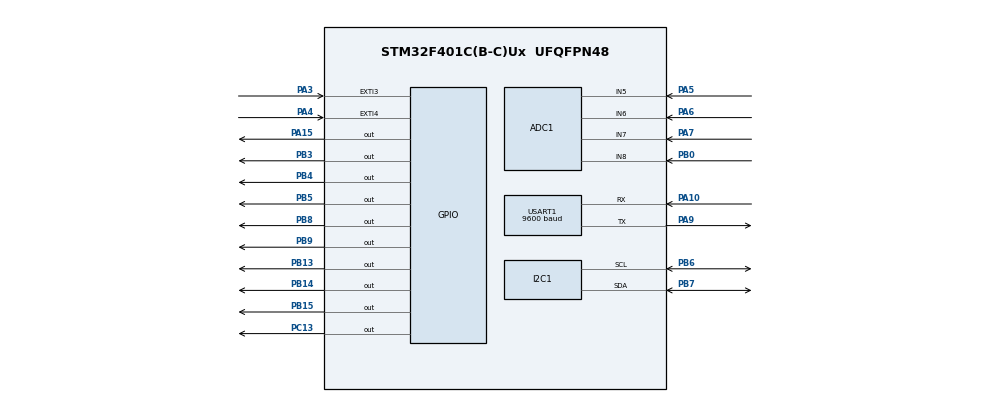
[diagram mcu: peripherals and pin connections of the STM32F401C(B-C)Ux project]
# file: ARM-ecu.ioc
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ADC1.Channel-0\#ChannelRegularConversion=ADC_CHANNEL_5
ADC1.Channel-1\#ChannelRegularConversion=ADC_CHANNEL_6
ADC1.Channel-2\#ChannelRegularConversion=ADC_CHANNEL_7
ADC1.Channel-3\#ChannelRegularConversion=ADC_CHANNEL_8
ADC1.ContinuousConvMode=ENABLE
ADC1.DMAContinuousRequests=ENABLE
ADC1.EOCSelection=ADC_EOC_SINGLE_CONV
ADC1.InjNumberOfConversion=0
ADC1.NbrOfConversion=4
ADC1.NbrOfConversionFlag=1
ADC1.Rank-0\#ChannelRegularConversion=1
ADC1.Rank-1\#ChannelRegularConversion=2
ADC1.Rank-2\#ChannelRegularConversion=3
ADC1.Rank-3\#ChannelRegularConversion=4
ADC1.SamplingTime-0\#ChannelRegularConversion=ADC_SAMPLETIME_3CYCLES
ADC1.SamplingTime-1\#ChannelRegularConversion=ADC_SAMPLETIME_3CYCLES
ADC1.SamplingTime-2\#ChannelRegularConversion=ADC_SAMPLETIME_3CYCLES
ADC1.SamplingTime-3\#ChannelRegularConversion=ADC_SAMPLETIME_3CYCLES
ADC1.ScanConvMode=ENABLE
ADC1.master=1
Dma.ADC1.0.Direction=DMA_PERIPH_TO_MEMORY
Dma.ADC1.0.FIFOMode=DMA_FIFOMODE_ENABLE
Dma.ADC1.0.FIFOThreshold=DMA_FIFO_THRESHOLD_FULL
Dma.ADC1.0.Instance=DMA2_Stream0
Dma.ADC1.0.MemBurst=DMA_MBURST_SINGLE
Dma.ADC1.0.MemDataAlignment=DMA_MDATAALIGN_HALFWORD
Dma.ADC1.0.MemInc=DMA_MINC_ENABLE
Dma.ADC1.0.Mode=DMA_CIRCULAR
Dma.ADC1.0.PeriphBurst=DMA_PBURST_SINGLE
Dma.ADC1.0.PeriphDataAlignment=DMA_PDATAALIGN_HALFWORD
Dma.ADC1.0.PeriphInc=DMA_PINC_DISABLE
Dma.ADC1.0.Priority=DMA_PRIORITY_VERY_HIGH
Dma.Request0=ADC1
FREERTOS.HEAP_NUMBER=2
FREERTOS.INCLUDE_xTaskGetHandle=1
FREERTOS.Queues01=USART_ISR_QUEUE,16,uint8_t,0,Dynamic,NULL,NULL;USART_TX_QUEUE,128,uint8_t,0,Dynamic,NULL,NULL
FREERTOS.Tasks01=defaultTask,24,128,StartDefaultTask,Default,NULL,Dynamic,NULL,NULL;ignitionTask,24,128,StartItnitionTask,Default,NULL,Dynamic,NULL,NULL;injectionTask,24,128,StartInjectionTask,Default,NULL,Dynamic,NULL,NULL;readSensorsTask,24,128,StartReadSensorsTask,Default,NULL,Dynamic,NULL,NULL;usartTask,24,128,StartUsartTask,Default,NULL,Dynamic,NULL,NULL;RHHTask,24,128,StartRHHTask,Default,NULL,Dynamic,NULL,NULL;EEPROMTask,24,128,StartEEPROMTask,Default,NULL,Dynamic,NULL,NULL;uartParserTask,24,128,StartuartParserTask,Default,NULL,Dynamic,NULL,NULL;uartTXtask,24,128,StartUartTXtask,Default,NULL,Dynamic,NULL,NULL
Mcu.Family=STM32F4
Mcu.Name=STM32F401C(B-C)Ux
Mcu.Package=UFQFPN48
NVIC.DMA2_Stream0_IRQn=true\:5\:0\:false\:false\:true\:true\:false\:true
NVIC.EXTI3_IRQn=true\:5\:0\:false\:false\:true\:true\:true\:true
NVIC.EXTI4_IRQn=true\:5\:0\:false\:false\:true\:true\:true\:true
NVIC.PriorityGroup=NVIC_PRIORITYGROUP_4
NVIC.TIM1_TRG_COM_TIM11_IRQn=true\:5\:0\:false\:false\:false\:true\:true\:true
NVIC.TIM2_IRQn=true\:0\:0\:false\:false\:true\:false\:false\:true
NVIC.TIM3_IRQn=true\:14\:0\:true\:false\:false\:true\:true\:true
NVIC.TimeBase=TIM2_IRQn
NVIC.TimeBaseIP=TIM2
NVIC.USART1_IRQn=true\:5\:0\:false\:false\:true\:true\:true\:true
PA10.Mode=Asynchronous
PA10.Signal=USART1_RX
PA15.GPIO_PuPd=GPIO_PULLDOWN
PA15.Signal=GPIO_Output
PA3.GPIO_ModeDefaultEXTI=GPIO_MODE_IT_RISING_FALLING
PA3.Signal=GPXTI3
PA4.GPIO_ModeDefaultEXTI=GPIO_MODE_IT_RISING_FALLING
PA4.Signal=GPXTI4
PA5.Signal=ADCx_IN5
PA6.Signal=ADCx_IN6
PA7.Signal=ADCx_IN7
PA9.Mode=Asynchronous
PA9.Signal=USART1_TX
PB0.Signal=ADCx_IN8
PB13.GPIO_PuPd=GPIO_PULLDOWN
PB13.Signal=GPIO_Output
PB14.GPIO_PuPd=GPIO_PULLDOWN
PB14.Signal=GPIO_Output
PB15.GPIO_PuPd=GPIO_PULLDOWN
PB15.Signal=GPIO_Output
PB3.GPIO_PuPd=GPIO_PULLDOWN
PB3.Signal=GPIO_Output
PB4.GPIO_PuPd=GPIO_PULLDOWN
PB4.Signal=GPIO_Output
PB5.GPIO_PuPd=GPIO_PULLDOWN
PB5.Signal=GPIO_Output
PB6.Mode=I2C
PB6.Signal=I2C1_SCL
PB7.Mode=I2C
PB7.Signal=I2C1_SDA
PB8.Signal=GPIO_Output
PB9.Signal=GPIO_Output
PC13-ANTI_TAMP.Signal=GPIO_Output
PH0\ -\ OSC_IN.Mode=HSE-External-Oscillator
PH0\ -\ OSC_IN.Signal=RCC_OSC_IN
PH1\ -\ OSC_OUT.Mode=HSE-External-Oscillator
PH1\ -\ OSC_OUT.Signal=RCC_OSC_OUT
ProjectManager.HeapSize=0x200
ProjectManager.StackSize=0x400
ProjectManager.TargetToolchain=MDK-ARM V5.27
RCC.48MHZClocksFreq_Value=42000000
RCC.AHBFreq_Value=84000000
RCC.APB1CLKDivider=RCC_HCLK_DIV2
RCC.APB1Freq_Value=42000000
RCC.APB1TimFreq_Value=84000000
RCC.APB2CLKDivider=RCC_HCLK_DIV2
RCC.APB2Freq_Value=42000000
RCC.APB2TimFreq_Value=84000000
RCC.CortexFreq_Value=84000000
RCC.HCLKFreq_Value=84000000
RCC.HSE_VALUE=25000000
RCC.HSI_VALUE=16000000
RCC.LSE_VALUE=32768
RCC.PLLM=8
RCC.PLLN=84
RCC.SYSCLKFreq_VALUE=84000000
RCC.SYSCLKSource=RCC_SYSCLKSOURCE_PLLCLK
RCC.VCOOutputFreq_Value=168000000
SH.ADCx_IN5.0=ADC1_IN5,IN5
SH.ADCx_IN6.0=ADC1_IN6,IN6
SH.ADCx_IN7.0=ADC1_IN7,IN7
SH.ADCx_IN8.0=ADC1_IN8,IN8
TIM11.Period=49999
TIM11.Prescaler=839
TIM3.Period=99
TIM3.Prescaler=83
USART1.BaudRate=9600
USART1.VirtualMode=VM_ASYNC
VP_FREERTOS_VS_CMSIS_V2.Mode=CMSIS_V2
VP_SYS_VS_tim2.Mode=TIM2
VP_TIM11_VS_ClockSourceINT.Mode=Enable_Timer
VP_TIM3_VS_ClockSourceINT.Mode=Internal
board=custom

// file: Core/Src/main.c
/* USER CODE BEGIN Header */
#pragma anon_unions
/**
  ******************************************************************************
  * @file           : main.c
  * @brief          : Main program body
  ******************************************************************************
  * @attention
  *
  * <h2><center>&copy; Copyright (c) 2022 STMicroelectronics.
  * All rights reserved.</center></h2>
  *
  * This software component is licensed by ST under Ultimate Liberty license
  * SLA0044, the "License"; You may not use this file except in compliance with
  * the License. You may obtain a copy of the License at:
  *                             www.st.com/SLA0044
  *
  ******************************************************************************
  */
/* USER CODE END Header */
#include "main.h"
#include "cmsis_os.h"

/* USER CODE BEGIN Includes */
#include "RHHDriver.h"
#include "queue.h"
#include "string.h"
#include "parser.h"
#include "stdio.h"
#include "stdlib.h"
/* USER CODE END Includes */

ADC_HandleTypeDef hadc1;
DMA_HandleTypeDef hdma_adc1;

/* Definitions for defaultTask */
osThreadId_t defaultTaskHandle;
const osThreadAttr_t defaultTask_attributes = {
  .name = "defaultTask",
  .stack_size = 128 * 4,
  .priority = (osPriority_t) osPriorityNormal,
};
/* Definitions for ignitionTask */
osThreadId_t ignitionTaskHandle;
const osThreadAttr_t ignitionTask_attributes = {
  .name = "ignitionTask",
  .stack_size = 128 * 4,
  .priority = (osPriority_t) osPriorityNormal,
};
/* Definitions for injectionTask */
osThreadId_t injectionTaskHandle;
const osThreadAttr_t injectionTask_attributes = {
  .name = "injectionTask",
  .stack_size = 128 * 4,
  .priority = (osPriority_t) osPriorityNormal,
};
/* Definitions for readSensorsTask */
osThreadId_t readSensorsTaskHandle;
const osThreadAttr_t readSensorsTask_attributes = {
  .name = "readSensorsTask",
  .stack_size = 128 * 4,
  .priority = (osPriority_t) osPriorityNormal,
};
/* Definitions for usartTask */
osThreadId_t usartTaskHandle;
const osThreadAttr_t usartTask_attributes = {
  .name = "usartTask",
  .stack_size = 128 * 4,
  .priority = (osPriority_t) osPriorityNormal,
};
/* Definitions for RHHTask */
osThreadId_t RHHTaskHandle;
const osThreadAttr_t RHHTask_attributes = {
  .name = "RHHTask",
  .stack_size = 128 * 4,
  .priority = (osPriority_t) osPriorityNormal,
};
/* Definitions for EEPROMTask */
osThreadId_t EEPROMTaskHandle;
const osThreadAttr_t EEPROMTask_attributes = {
  .name = "EEPROMTask",
  .stack_size = 128 * 4,
  .priority = (osPriority_t) osPriorityNormal,
};
/* Definitions for uartParserTask */
osThreadId_t uartParserTaskHandle;
const osThreadAttr_t uartParserTask_attributes = {
  .name = "uartParserTask",
  .stack_size = 128 * 4,
  .priority = (osPriority_t) osPriorityNormal,
};
/* Definitions for uartTXtask */
osThreadId_t uartTXtaskHandle;
const osThreadAttr_t uartTXtask_attributes = {
  .name = "uartTXtask",
  .stack_size = 128 * 4,
  .priority = (osPriority_t) osPriorityNormal,
};
/* Definitions for USART_ISR_QUEUE */
osMessageQueueId_t USART_ISR_QUEUEHandle;
const osMessageQueueAttr_t USART_ISR_QUEUE_attributes = {
  .name = "USART_ISR_QUEUE"
};
/* Definitions for USART_TX_QUEUE */
osMessageQueueId_t USART_TX_QUEUEHandle;
const osMessageQueueAttr_t USART_TX_QUEUE_attributes = {
  .name = "USART_TX_QUEUE"
};
/* USER CODE BEGIN PV */
	volatile bool send_info_flag = false;
	char raw_stringRX[80]; //строка, получаемая из UART
	char bufer_for_processingRX[80]; //полученная из юарт строка попадает сюда и идет в обработку
	#define DELIMETER ','
	#define TERMINATOR ';'

	#define EEPROM_WRITE_ADDR 0xA0
	#define EEPROM_READ_ADDR 0xA1

volatile bool adc_flag = true;
	//время одного оборота коленвала
	volatile uint32_t turn_around_time = 50000; //в микросекундах
	//карта углов опережения зажигания
	//углы в градусах, умноженные на 10
	float ignition_map[][2] = {{0, 1.0},{1000, 6.5}, {2000, 28.2}, {3000, 39.3}, {4000, 43.9}, {5000, 45.5}, {6000, 45.5}, {7000, 45.5}};
	//float ignition_map[][2] = {{0, 1.0},{1000, 2.2}, {2000, 12.3}, {3000, 21.8}, {4000, 26.3}, {5000, 27.3}, {6000, 27.9}, {7000, 27.5}};
	#define NUM_OF_POINTS_ANGLES 8
	//угол одного из лепестков модулятора, в градусах
	#define MODULATOR_ANGLE 30.0f
	//текущий угол опережения зажигания, в градусах
	volatile float cur_uoz;
	//текущее время задержки подачи искры, в сотнях микросекунд
	volatile uint16_t ign_delay;
	//время после верхней мертвой точки через которое начинается накачка катушки
	volatile uint32_t bobbin_on_delay;
	//время накачки катушки в миллисекундах
	#define COIL_PUMP_TIME 6
	//считаем количество оборотов коленвала на старте
	volatile uint32_t rot_counter = 0;

	#define AFR 12.0f //соотношение воздуха к топливу
	volatile float afr = 3;
	//производителность форсунки, грамм/мин, для бензина
	#define NOZZLE_PERFORMANCE 103.5f
	//время открытия форсунки, в сотнях микросекунд
	#define INJECTOR_OPEN_TIME 0
	//время впрыска топлива, в сотнях микросекунд
	volatile uint16_t injecting_time = 0;
	volatile bool inj_flag = false;

	volatile uint32_t eng_rot_counter = 0;

	//период ПИД регулятора
	#define DELAY_FOR_PID 200
	//обороты, к которым стремится ПИД
	#define TARGET_RPM 1100
	//ограничение снизу
	#define MIN_OUT -4
	//ограничение сверху
	#define MAX_OUT 4
	//коэффиценты ПИД
	#define KP 0.1f
	#define KI 0.01f
	#define KD 0.01f
	//скорость РХХ, шаг/сек
	#define RHH_SPEED 100
	volatile bool rhh_flag = false;

	uint8_t tps_axis[16] = {0, 2, 4, 6, 8, 10, 14, 18, 23, 29, 37, 46, 56, 66, 80, 100};
	uint16_t rpm_axis[16] = {600, 800, 1000, 1200, 1600, 2000, 2520, 3000, 3520, 4000, 4520, 5000, 5520, 6000, 7000, 10200};
	float bcf[16][16] = {{143, 141, 142, 145, 148, 148, 150, 153, 156, 159, 162, 164, 166, 168, 169, 170},
											 {138, 140, 143, 148, 149, 152, 156, 159, 162, 164, 166, 168, 169, 170, 171, 172},
											 {128, 149, 149, 150, 165, 172, 178, 178, 180, 178, 178, 178, 178, 178, 178, 178},
											 {129, 135, 152, 148, 169, 227, 216, 218, 208, 204, 199, 196, 194, 191, 189, 188},
											 {104, 121, 138, 150, 182, 217, 251, 267, 247, 238, 229, 221, 214, 209, 205, 201},
											 { 71, 108, 113, 153, 172, 228, 272, 283, 292, 278, 258, 244, 236, 229, 223, 219},
											 { 57,  84,  94, 113, 138, 163, 277, 293, 319, 296, 265, 265, 257, 251, 246, 241},
											 { 57,  67,  83,  99, 107, 150, 201, 258, 299, 299, 283, 285, 282, 280, 275, 267},
											 { 41,  53,  71,  78, 105, 127, 169, 210, 235, 254, 293, 319, 333, 323, 307, 295},
											 { 44,  45,  57,  64,  85, 109, 138, 154, 182, 203, 280, 379, 399, 351, 332, 317},
											 { 44,  44,  48,  54,  63,  77,  96, 116, 137, 164, 256, 388, 347, 346, 331, 320},
											 { 44,  44,  45,  48,  53,  61,  71,  85, 103, 120, 204, 248, 286, 295, 300, 299},
											 { 44,  44,  44,  45,  48,  52,  58,  66,  78,  91, 122, 164, 201, 229, 247, 260},
											 { 44,  44,  44,  44,  45,  47,  51,  56,  63,  73,  87, 110, 139, 167, 192, 209},
											 { 44,  44,  44,  44,  44,  45,  47,  50,  54,  61,  69,  82, 101, 122, 146, 167},
											 { 44,  44,  44,  44,  44,  44,  45,  47,  50,  55,  62,  71,  84, 103, 124, 146}
	};
	float bcf_correction[16][16] = { {1, 1, 1, 1, 1, 1, 1, 1, 1, 1, 1, 1, 1, 1, 1, 1},
																	 {1, 1, 1, 1, 1, 1, 1, 1, 1, 1, 1, 1, 1, 1, 1, 1},
																	 {1, 1, 1, 1, 1, 1, 1, 1, 1, 1, 1, 1, 1, 1, 1, 1},
																	 {1, 1, 1, 1, 1, 1, 1, 1, 1, 1, 1, 1, 1, 1, 1, 1},
																	 {1, 1, 1, 1, 1, 1, 1, 1, 1, 1, 1, 1, 1, 1, 1, 1},
																	 {1, 1, 1, 1, 1, 1, 1, 1, 1, 1, 1, 1, 1, 1, 1, 1},
																	 {1, 1, 1, 1, 1, 1, 1, 1, 1, 1, 1, 1, 1, 1, 1, 1},
																	 {1, 1, 1, 1, 1, 1, 1, 1, 1, 1, 1, 1, 1, 1, 1, 1},
																	 {1, 1, 1, 1, 1, 1, 1, 1, 1, 1, 1, 1, 1, 1, 1, 1},
																	 {1, 1, 1, 1, 1, 1, 1, 1, 1, 1, 1, 1, 1, 1, 1, 1},
																	 {1, 1, 1, 1, 1, 1, 1, 1, 1, 1, 1, 1, 1, 1, 1, 1},
																	 {1, 1, 1, 1, 1, 1, 1, 1, 1, 1, 1, 1, 1, 1, 1, 1},
																	 {1, 1, 1, 1, 1, 1, 1, 1, 1, 1, 1, 1, 1, 1, 1, 1},
																	 {1, 1, 1, 1, 1, 1, 1, 1, 1, 1, 1, 1, 1, 1, 1, 1},
																	 {1, 1, 1, 1, 1, 1, 1, 1, 1, 1, 1, 1, 1, 1, 1, 1},
																	 {1, 1, 1, 1, 1, 1, 1, 1, 1, 1, 1, 1, 1, 1, 1, 1}
	};

	float lambda_map[][2] = {
														{8.95,   0.8800},
														{9.11,   0.8797},
														{9.26,   0.8792},
														{9.41,   0.8787},
														{9.56,   0.8782},
														{9.71,   0.8778},
														{9.87,   0.8775},
														{10.02,  0.8771},
														{10.17,  0.8757},
														{10.32,  0.8752},
														{10.47,  0.8747},
														{10.63,  0.8742},
														{10.78,  0.8738},
														{10.93,  0.8735},
														{11.08,  0.8731},
														{11.24,  0.8727},
														{11.39,  0.8722},
														{11.54,  0.8717},
														{11.69,  0.8712},
														{11.86,  0.8690},
														{12.04,  0.8520},
														{12.23,  0.8410},
														{12.39,  0.8320},
														{12.62,  0.8180},
														{12.83,  0.8050},
														{13.03,  0.7920},
														{13.21,  0.7790},
														{13.4,   0.7630},
														{13.59,  0.7410},
														{13.82,  0.7180},
														{14.1,   0.6830},
														{14.43,  0.6060},
														{14.83,  0.2310},
														{15.31,  0.1710},
														{15.85,  0.1070},
														{16.47,  0.0630},
														{17.15,  0.0500},
														{17.9,   0.0380},
														{18.7,   0.0330}
};

	//Карта датчика температуры охлаждающей жидкости
	//22 точки
	float clt_map[][2] = {{100700, -40}, {52700, -30}, {28680, -20}, {21450, -15}, {16180, -10}, {12300, -5}, {9420, 0}, {7280, 5}, {5670, 10},
		{4450, 15}, {3520, 20}, {2796, 25}, {2238, 30}, {1459, 40}, {1188, 45}, {973, 60}, {667, 65}, {467, 70}, {332, 80}, {241, 90}, {177, 100}, {80, 130}};
	#define NUM_OF_POINTS_CLT 22
	float ctemp = 0;

	//карта датчика расхода воздуха
	//float maf_map[][2] = {{0, 0}, {0.3, 10.2}, {0.6, 10.9}, {0.93, 20.8}, {1.55, 45.9}, {1.87, 49.3}, {2.18, 67.6}, {2.5, 91.3}, {2.96, 123}, {3.28, 166}, {3.59, 222}};
	float maf_map[][2] = {{0, 0}, {0.3, 6.2}, {0.6, 9.9}, {0.93, 15.8}, {1.55, 34.9}, {1.87, 49.3}, {2.18, 67.6}, {2.5, 91.3}, {2.96, 123}, {3.28, 166}, {3.59, 222}};
	#define NUM_OF_POINTS_MAF 11
	//потребление воздуха, кг/час
	volatile float consumption_per_hour = 0;
	//расход воздуха на один цикл, грамм
	volatile float air_per_cycle = 0;
	volatile float cur_cf = 0;
	volatile bool air_flag = false;
	volatile uint8_t fuel_calc_mode = 1;

	volatile uint16_t ADC_Data[4];
	volatile uint16_t o2_adc_data = 0;
	volatile uint16_t maf_adc_data = 0;
	volatile uint16_t tps_adc_data = 0;
	volatile uint16_t clt_adc_data = 0;

	volatile float o2_volts = 0;
	volatile float maf_volts = 0;
	volatile float tps_volts = 0;
	volatile float clt_volts = 0;

	struct engine_parameters{
		uint16_t cur_rpm;
		uint16_t cur_injecting_time;
		float cur_uoz;
		uint16_t cur_ign_delay;
		float cur_temp;
		float cur_afr;
		uint8_t rhh_step;
		float cur_o2;
		uint8_t tps_percent;
	};
	volatile struct engine_parameters eng_param;

/* USER CODE END PV */

void SystemClock_Config(void);
static void MX_GPIO_Init(void);
static void MX_DMA_Init(void);
static void MX_ADC1_Init(void);
static void MX_I2C1_Init(void);
static void MX_TIM3_Init(void);
static void MX_TIM11_Init(void);
static void MX_USART1_UART_Init(void);
void StartDefaultTask(void *argument);
void StartItnitionTask(void *argument);
void StartInjectionTask(void *argument);
void StartReadSensorsTask(void *argument);
void StartUsartTask(void *argument);
void StartRHHTask(void *argument);
void StartEEPROMTask(void *argument);
void StartuartParserTask(void *argument);
void StartUartTXtask(void *argument);

/* USER CODE BEGIN PFP */
void sendInfoToUart(char TXbuf[]);
/* USER CODE END PFP */

int main(void)
{

  /* MCU Configuration--------------------------------------------------------*/

  /* Reset of all peripherals, Initializes the Flash interface and the Systick. */
  HAL_Init();

  /* Configure the system clock */
  SystemClock_Config();

  /* USER CODE BEGIN SysInit */
	Delay_100usInit();
  /* USER CODE END SysInit */

  /* Initialize all configured peripherals */
  MX_GPIO_Init();
  MX_DMA_Init();
  MX_ADC1_Init();
  MX_I2C1_Init();
  MX_TIM3_Init();
  MX_TIM11_Init();
  MX_USART1_UART_Init();

  /* Init scheduler */
  osKernelInitialize();

  /* Create the queue(s) */
  /* creation of USART_ISR_QUEUE */
  USART_ISR_QUEUEHandle = osMessageQueueNew (128, sizeof(uint8_t), &USART_ISR_QUEUE_attributes);

  /* creation of USART_TX_QUEUE */
  USART_TX_QUEUEHandle = osMessageQueueNew (512, sizeof(uint8_t), &USART_TX_QUEUE_attributes);

  /* Create the thread(s) */
  /* creation of defaultTask */
  defaultTaskHandle = osThreadNew(StartDefaultTask, NULL, &defaultTask_attributes);

  /* creation of ignitionTask */
  ignitionTaskHandle = osThreadNew(StartItnitionTask, NULL, &ignitionTask_attributes);

  /* creation of injectionTask */
  injectionTaskHandle = osThreadNew(StartInjectionTask, NULL, &injectionTask_attributes);

  /* creation of readSensorsTask */
  readSensorsTaskHandle = osThreadNew(StartReadSensorsTask, NULL, &readSensorsTask_attributes);

  /* creation of usartTask */
  usartTaskHandle = osThreadNew(StartUsartTask, NULL, &usartTask_attributes);

  /* creation of RHHTask */
  RHHTaskHandle = osThreadNew(StartRHHTask, NULL, &RHHTask_attributes);

  /* creation of EEPROMTask */
  EEPROMTaskHandle = osThreadNew(StartEEPROMTask, NULL, &EEPROMTask_attributes);

  /* creation of uartParserTask */
  uartParserTaskHandle = osThreadNew(StartuartParserTask, NULL, &uartParserTask_attributes);

  /* creation of uartTXtask */
  uartTXtaskHandle = osThreadNew(StartUartTXtask, NULL, &uartTXtask_attributes);

  /* Start scheduler */
  osKernelStart();

  /* We should never get here as control is now taken by the scheduler */
  /* Infinite loop */
  while (1)
  {

  }
}

void SystemClock_Config(void)
{
  LL_FLASH_SetLatency(LL_FLASH_LATENCY_2);
  while(LL_FLASH_GetLatency()!= LL_FLASH_LATENCY_2)
  {
  }
  LL_PWR_SetRegulVoltageScaling(LL_PWR_REGU_VOLTAGE_SCALE2);
  LL_RCC_HSI_SetCalibTrimming(16);
  LL_RCC_HSI_Enable();

   /* Wait till HSI is ready */
  while(LL_RCC_HSI_IsReady() != 1)
  {

  }
  LL_RCC_PLL_ConfigDomain_SYS(LL_RCC_PLLSOURCE_HSI, LL_RCC_PLLM_DIV_8, 84, LL_RCC_PLLP_DIV_2);
  LL_RCC_PLL_Enable();

   /* Wait till PLL is ready */
  while(LL_RCC_PLL_IsReady() != 1)
  {

  }
  LL_RCC_SetAHBPrescaler(LL_RCC_SYSCLK_DIV_1);
  LL_RCC_SetAPB1Prescaler(LL_RCC_APB1_DIV_2);
  LL_RCC_SetAPB2Prescaler(LL_RCC_APB2_DIV_2);
  LL_RCC_SetSysClkSource(LL_RCC_SYS_CLKSOURCE_PLL);

   /* Wait till System clock is ready */
  while(LL_RCC_GetSysClkSource() != LL_RCC_SYS_CLKSOURCE_STATUS_PLL)
  {

  }
  LL_SetSystemCoreClock(84000000);

   /* Update the time base */
  if (HAL_InitTick (TICK_INT_PRIORITY) != HAL_OK)
  {
    Error_Handler();
  }
  LL_RCC_SetTIMPrescaler(LL_RCC_TIM_PRESCALER_TWICE);
}

static void MX_ADC1_Init(void)
{

  ADC_ChannelConfTypeDef sConfig = {0};

  /** Configure the global features of the ADC (Clock, Resolution, Data Alignment and number of conversion)
  */
  hadc1.Instance = ADC1;
  hadc1.Init.ClockPrescaler = ADC_CLOCK_SYNC_PCLK_DIV2;
  hadc1.Init.Resolution = ADC_RESOLUTION_12B;
  hadc1.Init.ScanConvMode = ENABLE;
  hadc1.Init.ContinuousConvMode = ENABLE;
  hadc1.Init.DiscontinuousConvMode = DISABLE;
  hadc1.Init.ExternalTrigConvEdge = ADC_EXTERNALTRIGCONVEDGE_NONE;
  hadc1.Init.ExternalTrigConv = ADC_SOFTWARE_START;
  hadc1.Init.DataAlign = ADC_DATAALIGN_RIGHT;
  hadc1.Init.NbrOfConversion = 4;
  hadc1.Init.DMAContinuousRequests = ENABLE;
  hadc1.Init.EOCSelection = ADC_EOC_SINGLE_CONV;
  if (HAL_ADC_Init(&hadc1) != HAL_OK)
  {
    Error_Handler();
  }
  /** Configure for the selected ADC regular channel its corresponding rank in the sequencer and its sample time.
  */
  sConfig.Channel = ADC_CHANNEL_5;
  sConfig.Rank = 1;
  sConfig.SamplingTime = ADC_SAMPLETIME_3CYCLES;
  if (HAL_ADC_ConfigChannel(&hadc1, &sConfig) != HAL_OK)
  {
    Error_Handler();
  }
  /** Configure for the selected ADC regular channel its corresponding rank in the sequencer and its sample time.
  */
  sConfig.Channel = ADC_CHANNEL_6;
  sConfig.Rank = 2;
  if (HAL_ADC_ConfigChannel(&hadc1, &sConfig) != HAL_OK)
  {
    Error_Handler();
  }
  /** Configure for the selected ADC regular channel its corresponding rank in the sequencer and its sample time.
  */
  sConfig.Channel = ADC_CHANNEL_7;
  sConfig.Rank = 3;
  if (HAL_ADC_ConfigChannel(&hadc1, &sConfig) != HAL_OK)
  {
    Error_Handler();
  }
  /** Configure for the selected ADC regular channel its corresponding rank in the sequencer and its sample time.
  */
  sConfig.Channel = ADC_CHANNEL_8;
  sConfig.Rank = 4;
  if (HAL_ADC_ConfigChannel(&hadc1, &sConfig) != HAL_OK)
  {
    Error_Handler();
  }

}

static void MX_I2C1_Init(void)
{

  LL_I2C_InitTypeDef I2C_InitStruct = {0};

  LL_GPIO_InitTypeDef GPIO_InitStruct = {0};

  LL_AHB1_GRP1_EnableClock(LL_AHB1_GRP1_PERIPH_GPIOB);
  /**I2C1 GPIO Configuration
  PB6   ------> I2C1_SCL
  PB7   ------> I2C1_SDA
  */
  GPIO_InitStruct.Pin = LL_GPIO_PIN_6|LL_GPIO_PIN_7;
  GPIO_InitStruct.Mode = LL_GPIO_MODE_ALTERNATE;
  GPIO_InitStruct.Speed = LL_GPIO_SPEED_FREQ_VERY_HIGH;
  GPIO_InitStruct.OutputType = LL_GPIO_OUTPUT_OPENDRAIN;
  GPIO_InitStruct.Pull = LL_GPIO_PULL_UP;
  GPIO_InitStruct.Alternate = LL_GPIO_AF_4;
  LL_GPIO_Init(GPIOB, &GPIO_InitStruct);

  /* Peripheral clock enable */
  LL_APB1_GRP1_EnableClock(LL_APB1_GRP1_PERIPH_I2C1);

  /** I2C Initialization
  */
  LL_I2C_DisableOwnAddress2(I2C1);
  LL_I2C_DisableGeneralCall(I2C1);
  LL_I2C_EnableClockStretching(I2C1);
  I2C_InitStruct.PeripheralMode = LL_I2C_MODE_I2C;
  I2C_InitStruct.ClockSpeed = 100000;
  I2C_InitStruct.DutyCycle = LL_I2C_DUTYCYCLE_2;
  I2C_InitStruct.OwnAddress1 = 0;
  I2C_InitStruct.TypeAcknowledge = LL_I2C_ACK;
  I2C_InitStruct.OwnAddrSize = LL_I2C_OWNADDRESS1_7BIT;
  LL_I2C_Init(I2C1, &I2C_InitStruct);
  LL_I2C_SetOwnAddress2(I2C1, 0);
  /* USER CODE BEGIN I2C1_Init 2 */
	LL_I2C_Enable(I2C1);
  /* USER CODE END I2C1_Init 2 */

}

static void MX_TIM3_Init(void)
{

  LL_TIM_InitTypeDef TIM_InitStruct = {0};

  /* Peripheral clock enable */
  LL_APB1_GRP1_EnableClock(LL_APB1_GRP1_PERIPH_TIM3);

  /* TIM3 interrupt Init */
  NVIC_SetPriority(TIM3_IRQn, NVIC_EncodePriority(NVIC_GetPriorityGrouping(),14, 0));
  NVIC_EnableIRQ(TIM3_IRQn);

  TIM_InitStruct.Prescaler = 83;
  TIM_InitStruct.CounterMode = LL_TIM_COUNTERMODE_UP;
  TIM_InitStruct.Autoreload = 99;
  TIM_InitStruct.ClockDivision = LL_TIM_CLOCKDIVISION_DIV1;
  LL_TIM_Init(TIM3, &TIM_InitStruct);
  LL_TIM_DisableARRPreload(TIM3);
  LL_TIM_SetClockSource(TIM3, LL_TIM_CLOCKSOURCE_INTERNAL);
  LL_TIM_SetTriggerOutput(TIM3, LL_TIM_TRGO_RESET);
  LL_TIM_DisableMasterSlaveMode(TIM3);
  /* USER CODE BEGIN TIM3_Init 2 */
	LL_TIM_EnableIT_UPDATE(TIM3);
	LL_TIM_EnableCounter(TIM3);
  /* USER CODE END TIM3_Init 2 */

}

static void MX_TIM11_Init(void)
{

  LL_TIM_InitTypeDef TIM_InitStruct = {0};

  /* Peripheral clock enable */
  LL_APB2_GRP1_EnableClock(LL_APB2_GRP1_PERIPH_TIM11);

  /* TIM11 interrupt Init */
  NVIC_SetPriority(TIM1_TRG_COM_TIM11_IRQn, NVIC_EncodePriority(NVIC_GetPriorityGrouping(),5, 0));
  NVIC_EnableIRQ(TIM1_TRG_COM_TIM11_IRQn);

  TIM_InitStruct.Prescaler = 839;
  TIM_InitStruct.CounterMode = LL_TIM_COUNTERMODE_UP;
  TIM_InitStruct.Autoreload = 49999;
  TIM_InitStruct.ClockDivision = LL_TIM_CLOCKDIVISION_DIV1;
  LL_TIM_Init(TIM11, &TIM_InitStruct);
  LL_TIM_DisableARRPreload(TIM11);
  /* USER CODE BEGIN TIM11_Init 2 */
	LL_TIM_EnableIT_UPDATE(TIM11);
	LL_TIM_EnableCounter(TIM11);
  /* USER CODE END TIM11_Init 2 */

}

static void MX_USART1_UART_Init(void)
{

  LL_USART_InitTypeDef USART_InitStruct = {0};

  LL_GPIO_InitTypeDef GPIO_InitStruct = {0};

  /* Peripheral clock enable */
  LL_APB2_GRP1_EnableClock(LL_APB2_GRP1_PERIPH_USART1);

  LL_AHB1_GRP1_EnableClock(LL_AHB1_GRP1_PERIPH_GPIOA);
  /**USART1 GPIO Configuration
  PA9   ------> USART1_TX
  PA10   ------> USART1_RX
  */
  GPIO_InitStruct.Pin = LL_GPIO_PIN_9|LL_GPIO_PIN_10;
  GPIO_InitStruct.Mode = LL_GPIO_MODE_ALTERNATE;
  GPIO_InitStruct.Speed = LL_GPIO_SPEED_FREQ_VERY_HIGH;
  GPIO_InitStruct.OutputType = LL_GPIO_OUTPUT_PUSHPULL;
  GPIO_InitStruct.Pull = LL_GPIO_PULL_NO;
  GPIO_InitStruct.Alternate = LL_GPIO_AF_7;
  LL_GPIO_Init(GPIOA, &GPIO_InitStruct);

  /* USART1 interrupt Init */
  NVIC_SetPriority(USART1_IRQn, NVIC_EncodePriority(NVIC_GetPriorityGrouping(),5, 0));
  NVIC_EnableIRQ(USART1_IRQn);

  USART_InitStruct.BaudRate = 9600;
  USART_InitStruct.DataWidth = LL_USART_DATAWIDTH_8B;
  USART_InitStruct.StopBits = LL_USART_STOPBITS_1;
  USART_InitStruct.Parity = LL_USART_PARITY_NONE;
  USART_InitStruct.TransferDirection = LL_USART_DIRECTION_TX_RX;
  USART_InitStruct.HardwareFlowControl = LL_USART_HWCONTROL_NONE;
  USART_InitStruct.OverSampling = LL_USART_OVERSAMPLING_16;
  LL_USART_Init(USART1, &USART_InitStruct);
  LL_USART_ConfigAsyncMode(USART1);
  LL_USART_Enable(USART1);
  /* USER CODE BEGIN USART1_Init 2 */
	LL_USART_EnableIT_RXNE(USART1);
  /* USER CODE END USART1_Init 2 */

}

static void MX_DMA_Init(void)
{

  /* DMA controller clock enable */
  __HAL_RCC_DMA2_CLK_ENABLE();

  /* DMA interrupt init */
  /* DMA2_Stream0_IRQn interrupt configuration */
  HAL_NVIC_SetPriority(DMA2_Stream0_IRQn, 5, 0);
  HAL_NVIC_EnableIRQ(DMA2_Stream0_IRQn);

}

static void MX_GPIO_Init(void)
{
  LL_EXTI_InitTypeDef EXTI_InitStruct = {0};
  LL_GPIO_InitTypeDef GPIO_InitStruct = {0};

  /* GPIO Ports Clock Enable */
  LL_AHB1_GRP1_EnableClock(LL_AHB1_GRP1_PERIPH_GPIOC);
  LL_AHB1_GRP1_EnableClock(LL_AHB1_GRP1_PERIPH_GPIOH);
  LL_AHB1_GRP1_EnableClock(LL_AHB1_GRP1_PERIPH_GPIOA);
  LL_AHB1_GRP1_EnableClock(LL_AHB1_GRP1_PERIPH_GPIOB);

  /**/
  LL_GPIO_ResetOutputPin(GPIOC, LL_GPIO_PIN_13);

  /**/
  LL_GPIO_ResetOutputPin(GPIOB, LL_GPIO_PIN_13|LL_GPIO_PIN_14|LL_GPIO_PIN_15|LL_GPIO_PIN_3
                          |LL_GPIO_PIN_4|LL_GPIO_PIN_5|LL_GPIO_PIN_8|LL_GPIO_PIN_9);

  /**/
  LL_GPIO_ResetOutputPin(GPIOA, LL_GPIO_PIN_15);

  /**/
  GPIO_InitStruct.Pin = LL_GPIO_PIN_13;
  GPIO_InitStruct.Mode = LL_GPIO_MODE_OUTPUT;
  GPIO_InitStruct.Speed = LL_GPIO_SPEED_FREQ_LOW;
  GPIO_InitStruct.OutputType = LL_GPIO_OUTPUT_PUSHPULL;
  GPIO_InitStruct.Pull = LL_GPIO_PULL_NO;
  LL_GPIO_Init(GPIOC, &GPIO_InitStruct);

  /**/
  GPIO_InitStruct.Pin = LL_GPIO_PIN_13|LL_GPIO_PIN_14|LL_GPIO_PIN_15|LL_GPIO_PIN_3
                          |LL_GPIO_PIN_4|LL_GPIO_PIN_5;
  GPIO_InitStruct.Mode = LL_GPIO_MODE_OUTPUT;
  GPIO_InitStruct.Speed = LL_GPIO_SPEED_FREQ_LOW;
  GPIO_InitStruct.OutputType = LL_GPIO_OUTPUT_PUSHPULL;
  GPIO_InitStruct.Pull = LL_GPIO_PULL_DOWN;
  LL_GPIO_Init(GPIOB, &GPIO_InitStruct);

  /**/
  GPIO_InitStruct.Pin = LL_GPIO_PIN_15;
  GPIO_InitStruct.Mode = LL_GPIO_MODE_OUTPUT;
  GPIO_InitStruct.Speed = LL_GPIO_SPEED_FREQ_LOW;
  GPIO_InitStruct.OutputType = LL_GPIO_OUTPUT_PUSHPULL;
  GPIO_InitStruct.Pull = LL_GPIO_PULL_DOWN;
  LL_GPIO_Init(GPIOA, &GPIO_InitStruct);

  /**/
  GPIO_InitStruct.Pin = LL_GPIO_PIN_8|LL_GPIO_PIN_9;
  GPIO_InitStruct.Mode = LL_GPIO_MODE_OUTPUT;
  GPIO_InitStruct.Speed = LL_GPIO_SPEED_FREQ_LOW;
  GPIO_InitStruct.OutputType = LL_GPIO_OUTPUT_PUSHPULL;
  GPIO_InitStruct.Pull = LL_GPIO_PULL_NO;
  LL_GPIO_Init(GPIOB, &GPIO_InitStruct);

  /**/
  LL_SYSCFG_SetEXTISource(LL_SYSCFG_EXTI_PORTA, LL_SYSCFG_EXTI_LINE3);

  /**/
  LL_SYSCFG_SetEXTISource(LL_SYSCFG_EXTI_PORTA, LL_SYSCFG_EXTI_LINE4);

  /**/
  EXTI_InitStruct.Line_0_31 = LL_EXTI_LINE_3;
  EXTI_InitStruct.LineCommand = ENABLE;
  EXTI_InitStruct.Mode = LL_EXTI_MODE_IT;
  EXTI_InitStruct.Trigger = LL_EXTI_TRIGGER_RISING_FALLING;
  LL_EXTI_Init(&EXTI_InitStruct);

  /**/
  EXTI_InitStruct.Line_0_31 = LL_EXTI_LINE_4;
  EXTI_InitStruct.LineCommand = ENABLE;
  EXTI_InitStruct.Mode = LL_EXTI_MODE_IT;
  EXTI_InitStruct.Trigger = LL_EXTI_TRIGGER_RISING_FALLING;
  LL_EXTI_Init(&EXTI_InitStruct);

  /**/
  LL_GPIO_SetPinPull(GPIOA, LL_GPIO_PIN_3, LL_GPIO_PULL_NO);

  /**/
  LL_GPIO_SetPinPull(GPIOA, LL_GPIO_PIN_4, LL_GPIO_PULL_NO);

  /**/
  LL_GPIO_SetPinMode(GPIOA, LL_GPIO_PIN_3, LL_GPIO_MODE_INPUT);

  /**/
  LL_GPIO_SetPinMode(GPIOA, LL_GPIO_PIN_4, LL_GPIO_MODE_INPUT);

  /* EXTI interrupt init*/
  NVIC_SetPriority(EXTI3_IRQn, NVIC_EncodePriority(NVIC_GetPriorityGrouping(),5, 0));
  NVIC_EnableIRQ(EXTI3_IRQn);
  NVIC_SetPriority(EXTI4_IRQn, NVIC_EncodePriority(NVIC_GetPriorityGrouping(),5, 0));
  NVIC_EnableIRQ(EXTI4_IRQn);

}

void StartDefaultTask(void *argument)
{
  /* USER CODE BEGIN 5 */
  /* Infinite loop */
  for(;;)
  {
    osDelay(1);
		taskYIELD();
  }
  /* USER CODE END 5 */
}

/* USER CODE BEGIN Header_StartItnitionTask */
void TIM1_TRG_COM_TIM11_IRQHandler()
{
	UBaseType_t uxSavedInterruptStatus;
	uxSavedInterruptStatus = portSET_INTERRUPT_MASK_FROM_ISR();
    if(TIM11->SR & TIM_SR_UIF)           // Проверяем, что это нас переполнение вызывало
    {
        TIM11->SR &= ~TIM_SR_UIF;        //сбросить флаг
				TIM11->CR1 &= ~TIM_CR1_CEN;
				TIM11->CNT = 0;
				ignCoilOff;
    }
		portCLEAR_INTERRUPT_MASK_FROM_ISR( uxSavedInterruptStatus );
}

/**
* @brief Function implementing the ignitionTask thread.
* @param argument: Not used
* @retval None
*/
/* USER CODE END Header_StartItnitionTask */
void StartItnitionTask(void *argument)
{
  /* USER CODE BEGIN StartItnitionTask */
	uint8_t stage = 0;
	Delay_100usInit();
	mainReleyOn;
  /* Infinite loop */
  for(;;)
  {

		ulTaskNotifyTake(pdTRUE, portMAX_DELAY);

		taskENTER_CRITICAL();
		TIM11->CR1 &= ~TIM_CR1_CEN;
		if(TIM11->CNT != 0){ turn_around_time = TIM11->CNT*10; } //Prescaler = 839 -> умножаем на 10. Если оборот коленвала длился более 500 миллисекунд и таймер отключился и сбросился, turn_around_time не меняем
		TIM11->CNT = 0;
		TIM11->CR1 |= TIM_CR1_CEN;
		taskEXIT_CRITICAL();

		switch(stage){
			case 0:
				ignCoilOn;
				rot_counter++;
				if(rot_counter > 100){stage = 1;}
				break;
			case 1:
				Delay_100us(ign_delay);
				taskENTER_CRITICAL();
				ignCoilOff;
				taskEXIT_CRITICAL();
				Delay_100us(bobbin_on_delay);
				taskENTER_CRITICAL();
				ignCoilOn;
				taskEXIT_CRITICAL();
				break;
			case 2:
				break;
			default:
				break;
		}

		inj_flag = true;
		air_flag = true;
		if(!fuelPumpReleyPinState){
			fuelPumpReleyOn;
		}

 }
  /* USER CODE END StartItnitionTask */
}

void StartInjectionTask(void *argument)
{
  /* USER CODE BEGIN StartInjectionTask */
	//fuelPumpReleyOn;
  /* Infinite loop */
  for(;;)
  {
		if(inj_flag == true){
		taskENTER_CRITICAL();
		rightInjectorOn;
		leftInjectorOn;
		taskEXIT_CRITICAL();
		Delay_100us(injecting_time/2);
		taskENTER_CRITICAL();
		rightInjectorOff;
		leftInjectorOff;
		taskEXIT_CRITICAL();
		inj_flag = false;
		}
		taskYIELD();
  }
  /* USER CODE END StartInjectionTask */
}

/* USER CODE BEGIN Header_StartReadSensorsTask */
/**
* @brief Function implementing the readSensorsTask thread.
* @param argument: Not used
* @retval None
*/
void HAL_ADC_ConvCpltCallback(ADC_HandleTypeDef* hadc1)
{

}
float ADCToVolts(uint16_t adc){
	return 3.3/4096*adc;
}

float LinInterp(float x, float x1, float x2, float y1, float y2){
	return y1 + ((y2-y1)/(x2-x1))*(x-x1);
}

float MafVoltageToConsumption(float voltage, float map[][2], uint8_t items_number){
	uint8_t i = 0;
	float value;
	for(i = 0; i < items_number; i++){
		if(map[i][0] > voltage){
			break;
		}
	}
	value = (map[i-1][1] + ((map[i][1] - map[i-1][1])/(map[i][0] - map[i-1][0]))*(voltage-map[i-1][0]));
	i = 0;
	return value;
}
float CltVoltageToTemp(float voltage, float map[][2], uint8_t items_number){
	uint8_t i = 0;
	float value;
	float resistance = (5100*voltage)/(3.3f-voltage);
	for(i = 0; i < items_number; i++){
		if(map[i][0] < resistance){
			break;
		}
	}
	value = (map[i-1][1] + ((map[i][1] - map[i-1][1])/(map[i][0] - map[i-1][0]))*(resistance-map[i-1][0]));
	i = 0;
	return value;
}

//вычисление количества воздуха, потребляемого за один цикл
float AirPerCycle(float maf_volts){

	consumption_per_hour = MafVoltageToConsumption(maf_volts, maf_map, NUM_OF_POINTS_MAF);
	air_per_cycle = ((float)turn_around_time/(float)10000)*(consumption_per_hour/(float)360); //грамм; делим на 2 и на 100 так как turn_around_time в микросекундах
	return air_per_cycle;

}

//вычисление времени, которое открыта форсунка, сотни микросекунд (AFR, количество воздуха за цикл, в граммах)
uint16_t NozzleDelay(float afr, float air_per_cycle){
	return (air_per_cycle*(float)600000)/(afr*NOZZLE_PERFORMANCE) + INJECTOR_OPEN_TIME;
}

uint16_t uSecToRPM(uint32_t turn_around_time){	//возвращает количество оборотов в минуту
	return 60000000 / turn_around_time; 					//turn_around_time - время одного оборота в микросекундах
}

//поиск угла опережения зажигания в массиве, используется линейная интерполяция
float FindAngle(uint32_t turn_around_time, float map[][2], uint8_t items_number) {
	uint8_t i = 0;
	float angle;
	float rpm = (float)60000000 / (float)turn_around_time;

	for (i = 0; i < items_number; i++) {
		if (map[i][0] > rpm) {
			break;
		}
	}
	angle = (map[i - 1][1] + ((map[i][1] - map[i - 1][1]) / (map[i][0] - map[i - 1][0])) * (rpm - map[i - 1][0]));
	return angle;
}

//вычисление задержки для отключения катушки, в сотнях микросекунд
uint16_t FindIgnDelay(uint32_t turn_around_time, float angle, float modulator_angle) {
	uint16_t delay;
	delay = (float)turn_around_time * (modulator_angle * 2.0f - angle) / 360.0f;

	return delay / 100;
}

/* USER CODE END Header_StartReadSensorsTask */
void StartReadSensorsTask(void *argument)
{
  /* USER CODE BEGIN StartReadSensorsTask */
	uint8_t temp;
	HAL_ADC_Start_DMA(&hadc1,(uint32_t*) &ADC_Data,4);
	volatile float air_sum = 0;
	volatile uint32_t air_counter = 0;
	uint8_t rpm_axis_coord = 0;
	uint8_t tps_axis_coord = 0;
  /* Infinite loop */
  for(;;)
  {

		osDelay(5);
		o2_volts = ADCToVolts(ADC_Data[0]);
		maf_volts = ADCToVolts(ADC_Data[1]);
		air_sum+= maf_volts;
		air_counter++;
		tps_volts = ADCToVolts(ADC_Data[2]);
		clt_volts = ADCToVolts(ADC_Data[3]);

		switch(fuel_calc_mode){
			case 0:
				if(air_flag == true){
					injecting_time = NozzleDelay(afr, AirPerCycle(air_sum/(float)air_counter*1.51f));
					if(rot_counter < 50){
						injecting_time = 100;
					}
					if(injecting_time < 30){
						injecting_time = 30;
					}
				air_counter = 0;
				air_sum = 0;
				air_flag = false;
				}
				break;
			case 1:
				injecting_time = LinInterp(tps_volts, 0.05, 0.33, 35, 100)/afr*14.7f;
				break;
			case 2:
				for(uint8_t i = 0; i<16; i++){
					if(eng_param.tps_percent > tps_axis[i]){
						rpm_axis_coord = i;
						break;
					}
				}
				for(uint8_t i = 0; i<16; i++){
					if(eng_param.cur_rpm > rpm_axis[i]){
						tps_axis_coord = i;
						break;
					}
				}
				air_per_cycle = bcf[rpm_axis_coord][tps_axis_coord];
				cur_cf = bcf[rpm_axis_coord][tps_axis_coord];
				injecting_time = NozzleDelay(afr, cur_cf/1000.0f);
				if(rot_counter < 20){
						injecting_time = 150;
					}
				break;
			}

		ctemp = CltVoltageToTemp(clt_volts, clt_map, NUM_OF_POINTS_CLT);

			if(ctemp < 15){afr = 4.0;}
			else if(ctemp < 20){afr = 6.0;}
			else if(ctemp < 30){afr = 8.0;}
			else if(ctemp < 40){afr = 9.0;}
			else if(ctemp < 50){afr = 10.0;}
			else if(ctemp < 60){afr = 11.0;}
			else if(ctemp < 70){afr = 12.0;}
			else if(ctemp < 80){afr = 12.0;}
			else {afr = 12.0;}

		cur_uoz = FindAngle(turn_around_time, ignition_map, NUM_OF_POINTS_ANGLES);
		ign_delay = FindIgnDelay(turn_around_time, cur_uoz, MODULATOR_ANGLE);
		bobbin_on_delay = (turn_around_time - (COIL_PUMP_TIME*1000) - (ign_delay*100))/100;

		eng_param.tps_percent = LinInterp(tps_volts, 0.05, 0.33, 0, 100);
		eng_param.cur_afr = afr;
		eng_param.cur_rpm = uSecToRPM(turn_around_time);
		eng_param.cur_temp = ctemp;
		eng_param.cur_injecting_time = injecting_time;
		eng_param.cur_uoz = cur_uoz;
		eng_param.cur_ign_delay = ign_delay;
		eng_param.cur_o2 = o2_volts;

		taskYIELD();
  }
  /* USER CODE END StartReadSensorsTask */
}

void StartUsartTask(void *argument)
{
  /* USER CODE BEGIN StartUsartTask */
	uint16_t counter = 0;
	char c;

  /* Infinite loop */
  for(;;)
  {
		xQueueReceive(USART_ISR_QUEUEHandle, &c, portMAX_DELAY);
		raw_stringRX[counter] = c;
		counter++;
		if(c == TERMINATOR){
			strcpy(bufer_for_processingRX, raw_stringRX);
			counter = 0;
			memset(raw_stringRX, 0, sizeof(raw_stringRX));
			xQueueReset(USART_ISR_QUEUEHandle);
			xTaskNotifyGive(uartParserTaskHandle);
		}

  }
  /* USER CODE END StartUsartTask */
}

/* USER CODE BEGIN Header_StartRHHTask */
int computePID(float input, float setpoint, float kp, float ki, float kd, float dt, int minOut, int maxOut) {
  float err = setpoint - input;
  static float integral = 0, prevErr = 0;
  integral = integral + (float)err * dt * ki;
  if(integral < minOut){integral = minOut;}
  else if(integral > maxOut){integral = maxOut;}

  float D = (err - prevErr) / dt;
  prevErr = err;

  int out = err * kp + integral + D * kd;
  if(out < minOut){out = minOut;}
  else if(out > maxOut){out = maxOut;}
  return out;
}
/**
* @brief Function implementing the RHHTask thread.
* @param argument: Not used
* @retval None
*/
/* USER CODE END Header_StartRHHTask */
void StartRHHTask(void *argument)
{
  /* USER CODE BEGIN StartRHHTask */
  /* Infinite loop */
	stepRHH(1, 250, RHH_SPEED);
	stepRHH(0, 30, RHH_SPEED);
	eng_param.rhh_step = 30;
	volatile int out;
  for(;;)
  {
		osDelay(100);
		if((rhh_flag == true) && (rot_counter > 50)){
		if(tps_volts < 0.07f){
			out = computePID((float)eng_param.cur_rpm, TARGET_RPM, KP, KI, KD, (float)DELAY_FOR_PID/1000.0f , MIN_OUT, MAX_OUT);
			if(out > 0){
				if((eng_param.rhh_step + out) < 250){
					stepRHH(0, out, RHH_SPEED);
					eng_param.rhh_step += out;
				}
			}else if(out < 0){
				if(abs(out) < eng_param.rhh_step){
					stepRHH(1, abs(out), RHH_SPEED);
					eng_param.rhh_step -= abs(out);
				}else if(abs(out) > eng_param.rhh_step){
					stepRHH(1, eng_param.rhh_step, RHH_SPEED);
					eng_param.rhh_step = 0;
				}
			}
		}
	}
  }
  /* USER CODE END StartRHHTask */
}

/* USER CODE BEGIN Header_StartEEPROMTask */
void EEPROMWriteByte(I2C_TypeDef *I2Cx, uint8_t address, uint16_t mem_address, uint8_t data){

	//старт
	I2Cx->CR1 |= I2C_CR1_START;
	while(!(I2Cx->SR1 & I2C_SR1_SB)){};
	(void)I2Cx->SR1;

	//отправка адреса слейва
	I2Cx->DR = address;
	while(!(I2Cx->SR1 & I2C_SR1_ADDR)){};
	(void) I2Cx->SR1;
	(void) I2Cx->SR2;

	//отправка старшего байта адреса памяти
	I2Cx->DR = (mem_address >> 8);
	while(!(I2Cx->SR1 & I2C_SR1_TXE)){};
	//отправка младшего байта адреса памяти
	I2Cx->DR = (mem_address & 0xff);
	while(!(I2Cx->SR1 & I2C_SR1_TXE)){};

	//пишем данные
	I2Cx->DR = data;
	while(!(I2Cx->SR1 & I2C_SR1_BTF)){};
	I2Cx->CR1 |= I2C_CR1_STOP;
}

void EEPROMWriteUint16(I2C_TypeDef *I2Cx, uint8_t address, uint16_t mem_address, uint16_t data){

	//старт
	I2Cx->CR1 |= I2C_CR1_START;
	while(!(I2Cx->SR1 & I2C_SR1_SB)){};
	(void)I2Cx->SR1;

	//отправка адреса слейва
	I2Cx->DR = address;
	while(!(I2Cx->SR1 & I2C_SR1_ADDR)){};
	(void) I2Cx->SR1;
	(void) I2Cx->SR2;

	//отправка старшего байта адреса памяти
	I2Cx->DR = (mem_address >> 8);
	while(!(I2Cx->SR1 & I2C_SR1_TXE)){};
	//отправка младшего байта адреса памяти
	I2Cx->DR = (mem_address & 0xff);
	while(!(I2Cx->SR1 & I2C_SR1_TXE)){};

	//пишем данные
	I2Cx->DR = (data >> 8);
	while(!(I2Cx->SR1 & I2C_SR1_TXE)){};
	I2Cx->DR = (data & 0xff);
	while(!(I2Cx->SR1 & I2C_SR1_BTF)){};
	I2Cx->CR1 |= I2C_CR1_STOP;
}
uint16_t EEPROMRandReadUint16(I2C_TypeDef *I2Cx, uint8_t address_write, uint8_t address_read, uint16_t mem_address){
	uint8_t high;
	uint8_t low;

	//старт
	I2Cx->CR1 |= I2C_CR1_START;
	while(!(I2Cx->SR1 & I2C_SR1_SB)){};
	(void)I2Cx->SR1;

	//отправка адреса слейва
	I2Cx->DR = address_write;
	while(!(I2Cx->SR1 & I2C_SR1_ADDR)){};
	(void) I2Cx->SR1;
	(void) I2Cx->SR2;

	//отправка старшего байта адреса памяти
	I2Cx->DR = (mem_address >> 8);
	while(!(I2Cx->SR1 & I2C_SR1_TXE)){};
	//отправка младшего байта адреса памяти
	I2Cx->DR = (mem_address & 0xff);
	while(!(I2Cx->SR1 & I2C_SR1_TXE)){};

	//рестарт
	I2Cx->CR1 |= I2C_CR1_START;
	while(!(I2Cx->SR1 & I2C_SR1_SB)){};
	(void)I2Cx->SR1;

	//отправка адреса слейва
	I2Cx->DR = address_read;
	while(!(I2Cx->SR1 & I2C_SR1_ADDR)){};
	(void) I2Cx->SR1;
	(void) I2Cx->SR2;

	//читаем данные
	I2Cx->CR1 &= ~I2C_CR1_ACK;
	while(!(I2Cx->SR1 & I2C_SR1_RXNE)){};
	high = I2Cx->DR;
	I2Cx->CR1 &= ~I2C_CR1_ACK;
	while(!(I2Cx->SR1 & I2C_SR1_RXNE)){};
	low = I2Cx->DR;
	I2Cx->CR1 |= I2C_CR1_STOP;

	return (high << 8) | low;
}

void EEPROMWriteFloat(I2C_TypeDef *I2Cx, uint8_t address, uint16_t mem_address, float data){
	typedef union _FloType
{
    struct
			{
        uint8_t low2;
				uint8_t low1;
				uint8_t high2;
        uint8_t high1;
    };
    float flo;
}FloType;

FloType flo;
flo.flo = data;
	//старт
	I2Cx->CR1 |= I2C_CR1_START;
	while(!(I2Cx->SR1 & I2C_SR1_SB)){};
	(void)I2Cx->SR1;

	//отправка адреса слейва
	I2Cx->DR = address;
	while(!(I2Cx->SR1 & I2C_SR1_ADDR)){};
	(void) I2Cx->SR1;
	(void) I2Cx->SR2;

	//отправка старшего байта адреса памяти
	I2Cx->DR = (mem_address >> 8);
	while(!(I2Cx->SR1 & I2C_SR1_TXE)){};
	//отправка младшего байта адреса памяти
	I2Cx->DR = (mem_address & 0xff);
	while(!(I2Cx->SR1 & I2C_SR1_TXE)){};

	//пишем данные
	I2Cx->DR = (flo.high1);
	while(!(I2Cx->SR1 & I2C_SR1_TXE)){};
	I2Cx->DR = (flo.high2);
	while(!(I2Cx->SR1 & I2C_SR1_TXE)){};
	I2Cx->DR = (flo.low1);
	while(!(I2Cx->SR1 & I2C_SR1_TXE)){}
	I2Cx->DR = (flo.low2);
	while(!(I2Cx->SR1 & I2C_SR1_BTF)){};
	I2Cx->CR1 |= I2C_CR1_STOP;
}
float EEPROMRandReadFloat(I2C_TypeDef *I2Cx, uint8_t address_write, uint8_t address_read, uint16_t mem_address){
	typedef union _FloType
{
    struct
    {
        uint8_t low2;
				uint8_t low1;
				uint8_t high2;
        uint8_t high1;
    };
    float flo;
}FloType;

FloType flo;

	//старт
	I2Cx->CR1 |= I2C_CR1_START;
	while(!(I2Cx->SR1 & I2C_SR1_SB)){};
	(void)I2Cx->SR1;

	//отправка адреса слейва
	I2Cx->DR = address_write;
	while(!(I2Cx->SR1 & I2C_SR1_ADDR)){};
	(void) I2Cx->SR1;
	(void) I2Cx->SR2;

	//отправка старшего байта адреса памяти
	I2Cx->DR = (mem_address >> 8);
	while(!(I2Cx->SR1 & I2C_SR1_TXE)){};
	//отправка младшего байта адреса памяти
	I2Cx->DR = (mem_address & 0xff);
	while(!(I2Cx->SR1 & I2C_SR1_TXE)){};

	//рестарт
	I2Cx->CR1 |= I2C_CR1_START;
	while(!(I2Cx->SR1 & I2C_SR1_SB)){};
	(void)I2Cx->SR1;

	//отправка адреса слейва
	I2Cx->DR = address_read;
	while(!(I2Cx->SR1 & I2C_SR1_ADDR)){};
	(void) I2Cx->SR1;
	(void) I2Cx->SR2;

	//читаем
	I2Cx->CR1 &= ~I2C_CR1_ACK;
	while(!(I2Cx->SR1 & I2C_SR1_RXNE)){};
	flo.high1 = I2Cx->DR;
	I2Cx->CR1 &= ~I2C_CR1_ACK;
	while(!(I2Cx->SR1 & I2C_SR1_RXNE)){};
	flo.high2 = I2Cx->DR;
	I2Cx->CR1 &= ~I2C_CR1_ACK;
	while(!(I2Cx->SR1 & I2C_SR1_RXNE)){};
	flo.low1 = I2Cx->DR;
	I2Cx->CR1 &= ~I2C_CR1_ACK;
	while(!(I2Cx->SR1 & I2C_SR1_RXNE)){};
	flo.low2 = I2Cx->DR;
	I2Cx->CR1 |= I2C_CR1_STOP;

	return flo.flo;
}

void EEPROMWritePage(I2C_TypeDef *I2Cx, uint8_t address, uint16_t mem_address, uint8_t* data){

	uint8_t length = sizeof(data);

	//старт
	I2Cx->CR1 |= I2C_CR1_START;
	while(!(I2Cx->SR1 & I2C_SR1_SB)){};
	(void)I2Cx->SR1;

	//отправка адреса слейва
	I2Cx->DR = address;
	while(!(I2Cx->SR1 & I2C_SR1_ADDR)){};
	(void) I2Cx->SR1;
	(void) I2Cx->SR2;

	//отправка старшего байта адреса памяти
	I2Cx->DR = (mem_address >> 8);
	while(!(I2Cx->SR1 & I2C_SR1_TXE)){};
	//отправка младшего байта адреса памяти
	I2Cx->DR = (mem_address & 0xff);
	while(!(I2Cx->SR1 & I2C_SR1_TXE)){};

	//пишем данные
	for(uint8_t i = 0; i < (length-1); i++){
		I2Cx->DR = data[i];
		while(!(I2Cx->SR1 & I2C_SR1_TXE)){};
	}
	I2Cx->DR = data[length-1];
	while(!(I2Cx->SR1 & I2C_SR1_BTF)){};
	I2Cx->CR1 |= I2C_CR1_STOP;
}
void EEPROMReadPage(I2C_TypeDef *I2Cx, uint8_t address_write, uint8_t address_read, uint16_t mem_address, uint8_t* data, uint8_t length){

	//старт
	I2Cx->CR1 |= I2C_CR1_START;
	while(!(I2Cx->SR1 & I2C_SR1_SB)){};
	(void)I2Cx->SR1;

	//отправка адреса слейва
	I2Cx->DR = address_write;
	while(!(I2Cx->SR1 & I2C_SR1_ADDR)){};
	(void) I2Cx->SR1;
	(void) I2Cx->SR2;

	//отправка старшего байта адреса памяти
	I2Cx->DR = (mem_address >> 8);
	while(!(I2Cx->SR1 & I2C_SR1_TXE)){};
	//отправка младшего байта адреса памяти
	I2Cx->DR = (mem_address & 0xff);
	while(!(I2Cx->SR1 & I2C_SR1_TXE)){};

	//рестарт
	I2Cx->CR1 |= I2C_CR1_START;
	while(!(I2Cx->SR1 & I2C_SR1_SB)){};
	(void)I2Cx->SR1;

	//отправка адреса слейва
	I2Cx->DR = address_read;
	while(!(I2Cx->SR1 & I2C_SR1_ADDR)){};
	(void) I2Cx->SR1;
	(void) I2Cx->SR2;

	//пишем данные
	for(uint8_t i = 0; i < (length); i++){
	I2Cx->CR1 &= ~I2C_CR1_ACK;
	while(!(I2Cx->SR1 & I2C_SR1_RXNE)){};
	data[i] = I2Cx->DR;
	}
	I2Cx->CR1 |= I2C_CR1_STOP;
}
uint8_t EEPROMRandReadByte(I2C_TypeDef *I2Cx, uint8_t address_write, uint8_t address_read, uint16_t mem_address){
	uint8_t data;

	//старт
	I2Cx->CR1 |= I2C_CR1_START;
	while(!(I2Cx->SR1 & I2C_SR1_SB)){};
	(void)I2Cx->SR1;

	//отправка адреса слейва
	I2Cx->DR = address_write;
	while(!(I2Cx->SR1 & I2C_SR1_ADDR)){};
	(void) I2Cx->SR1;
	(void) I2Cx->SR2;

	//отправка старшего байта адреса памяти
	I2Cx->DR = (mem_address >> 8);
	while(!(I2Cx->SR1 & I2C_SR1_TXE)){};
	//отправка младшего байта адреса памяти
	I2Cx->DR = (mem_address & 0xff);
	while(!(I2Cx->SR1 & I2C_SR1_TXE)){};

	//рестарт
	I2Cx->CR1 |= I2C_CR1_START;
	while(!(I2Cx->SR1 & I2C_SR1_SB)){};
	(void)I2Cx->SR1;

	//отправка адреса слейва
	I2Cx->DR = address_read;
	while(!(I2Cx->SR1 & I2C_SR1_ADDR)){};
	(void) I2Cx->SR1;
	(void) I2Cx->SR2;

	//читаем
	I2Cx->CR1 &= ~I2C_CR1_ACK;
	while(!(I2Cx->SR1 & I2C_SR1_RXNE)){};
	data = I2Cx->DR;
	I2Cx->CR1 |= I2C_CR1_STOP;
	return data;
}
/**
* @brief Function implementing the EEPROMTask thread.
* @param argument: Not used
* @retval None
*/
/* USER CODE END Header_StartEEPROMTask */
void StartEEPROMTask(void *argument)
{
  /* USER CODE BEGIN StartEEPROMTask */
	char TXbuf[128];
  /* Infinite loop */
  for(;;)
  {
		if(send_info_flag == false){
		ulTaskNotifyTake(pdTRUE, portMAX_DELAY);
		send_info_flag = true;
		}

		osDelay(pdMS_TO_TICKS(200));
		taskENTER_CRITICAL();
		sprintf(TXbuf, "%c,%d,%f,%f,%d,%d,%d,%f,%f%c", 'd', eng_param.cur_rpm, eng_param.cur_temp, eng_param.cur_uoz, eng_param.cur_ign_delay, eng_param.cur_injecting_time, eng_param.rhh_step, eng_param.cur_o2, eng_param.cur_afr, ';');
		sendInfoToUart(TXbuf);
		sprintf(TXbuf, "%s,%f,%f,%f,%f,%f%c", "d2", o2_volts, clt_volts, tps_volts, maf_volts, air_per_cycle, ';');
		sendInfoToUart(TXbuf);
		taskEXIT_CRITICAL();

  }
  /* USER CODE END StartEEPROMTask */
}

void StartuartParserTask(void *argument)
{
  /* USER CODE BEGIN StartuartParserTask */
	char TXbuf[128];
	uint32_t* package;
	uint16_t delay;
	uint8_t data;
	uint8_t array[12];
  /* Infinite loop */
  for(;;)
  {
		package = parseString(bufer_for_processingRX, DELIMETER, TERMINATOR);
		memset(bufer_for_processingRX, 0, sizeof(bufer_for_processingRX));

		switch(package[0]){
						case 0:

							break;
						case 1:
							if(package[1] == 1){
								mainReleyOn;
								sprintf(TXbuf, "%s", "mainReleyOn;");
							}else if(package[1] == 0){
								mainReleyOff;
								sprintf(TXbuf, "%s", "mainReleyOff;");
							}
							sendInfoToUart(TXbuf);
							break;
						case 2:
							if(package[1] == 1){
								fuelPumpReleyOn;
								sprintf(TXbuf, "%s", "fuelPumpReleyOn;");
							}else if(package[1] == 0){
								fuelPumpReleyOff;
								sprintf(TXbuf, "%s", "fuelPumpReleyOff;");
							}
							sendInfoToUart(TXbuf);
							break;
						case 3:
							if(package[1] == 1){
							xTaskNotifyGive(EEPROMTaskHandle);
							}else if(package[1] == 0){
								send_info_flag = false;
							}
							break;
						case 4:
							if(package[1] == 1){
								rhh_flag = true;
							}else{
								rhh_flag = false;
							}
							break;
						case 5:
							sprintf(TXbuf, "%s %d %s %d %s %d %c", "dir", package[1], "count", package[2], "speed", package[3],';');
							sendInfoToUart(TXbuf);
							stepRHH(package[1], package[2], package[3]);
							break;
						case 6:
							afr = (float)package[1];
							sprintf(TXbuf, "%s %f %c", "afr: ", afr,';');
							sendInfoToUart(TXbuf);
							break;
						case 7:
							sprintf(TXbuf, "%s %d %c", "rpm ", eng_param.cur_rpm, ';');
							sendInfoToUart(TXbuf);
							break;
						case 8:
							if(package[1] == 1){
								LL_GPIO_SetOutputPin(GPIOC, GPIO_PIN_13);
								sprintf(TXbuf, "%s %c", "led OFF", ';');
							}else if(package[1] == 0){
								LL_GPIO_ResetOutputPin(GPIOC, GPIO_PIN_13);
								sprintf(TXbuf, "%s %c", "led ON", ';');
							}
							sendInfoToUart(TXbuf);
							break;
						case 9:
							delay = package[1];
							ignCoilOn;
							Delay_100us(delay/100);
							ignCoilOff;
							break;
						case 10:
							EEPROMWriteByte(I2C1, EEPROM_WRITE_ADDR, 0x0000, package[1]);
							sprintf(TXbuf, "%s", "Ok;");
							sendInfoToUart(TXbuf);
							break;
						case 11:
							data = EEPROMRandReadByte(I2C1, EEPROM_WRITE_ADDR, EEPROM_READ_ADDR, 0x0000);
						sprintf(TXbuf, "%s%d%c", "Data:", data ,';');
							sendInfoToUart(TXbuf);
							break;
						case 12:
							EEPROMReadPage(I2C1, EEPROM_WRITE_ADDR, EEPROM_READ_ADDR, 0x0000, array, 12);
						sprintf(TXbuf, "%s%d%c", "Data:", data ,';');
							sendInfoToUart(TXbuf);
							break;
						default:
							sprintf(TXbuf, "%s", "Invalid command!;");
							sendInfoToUart(TXbuf);
							break;
					}
		memset(TXbuf, 0, sizeof(TXbuf));
		memset(package, 0, 20);
		ulTaskNotifyTake(pdTRUE, portMAX_DELAY);

  }
  /* USER CODE END StartuartParserTask */
}

/* USER CODE BEGIN Header_StartUartTXtask */

void sendInfoToUart(char *TXbuf){
	for(uint8_t i = 0; i < strlen(TXbuf); i++){
		if(TXbuf[i] != TERMINATOR){
			xQueueSendToBack(USART_TX_QUEUEHandle, &TXbuf[i], portMAX_DELAY);
		}else{
			xQueueSendToBack(USART_TX_QUEUEHandle, &TXbuf[i], portMAX_DELAY);
			xTaskNotifyGive(uartTXtaskHandle);
			break;
		}
	}

}
/**
* @brief Function implementing the uartTXtask thread.
* @param argument: Not used
* @retval None
*/
/* USER CODE END Header_StartUartTXtask */
void StartUartTXtask(void *argument)
{
  /* USER CODE BEGIN StartUartTXtask */
	char c;
  /* Infinite loop */
  for(;;)
  {
		while(xQueueReceive(USART_TX_QUEUEHandle, &c, pdMS_TO_TICKS(2))){
			while(!LL_USART_IsActiveFlag_TXE(USART1)){}
			taskENTER_CRITICAL();
			LL_USART_TransmitData8(USART1, c);
			taskEXIT_CRITICAL();
		}
		ulTaskNotifyTake(pdTRUE, portMAX_DELAY);
  }
  /* USER CODE END StartUartTXtask */
}

 /**
  * @brief  Period elapsed callback in non blocking mode
  * @note   This function is called  when TIM2 interrupt took place, inside
  * HAL_TIM_IRQHandler(). It makes a direct call to HAL_IncTick() to increment
  * a global variable "uwTick" used as application time base.
  * @param  htim : TIM handle
  * @retval None
  */
void HAL_TIM_PeriodElapsedCallback(TIM_HandleTypeDef *htim)
{
  if (htim->Instance == TIM2) {
    HAL_IncTick();
  }
}

void Error_Handler(void)
{
  __disable_irq();
  while (1)
  {
  }
}

/************************ (C) COPYRIGHT STMicroelectronics *****END OF FILE****/
